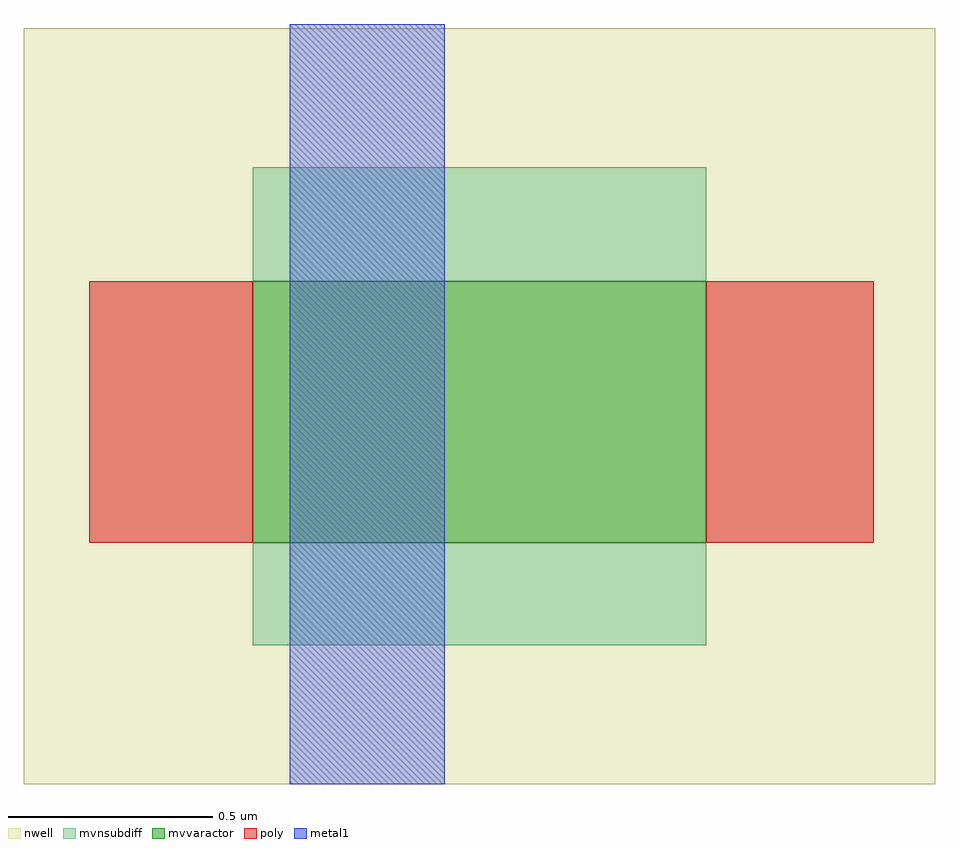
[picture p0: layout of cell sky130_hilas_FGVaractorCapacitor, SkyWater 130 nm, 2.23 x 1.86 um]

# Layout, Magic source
magic
tech sky130A
<< nwell >>
rect 0 0 223 185
<< mvvaractor >>
rect 56 59 167 123
<< mvnsubdiff >>
rect 56 123 167 151
rect 56 34 167 59
<< poly >>
rect 16 59 56 123
rect 167 59 208 123
<< metal1 >>
rect 65 0 103 186
<< properties >>
string LEFsite unithd
string LEFclass CORE
string LEFsymmetry X Y R90
<< end >>
